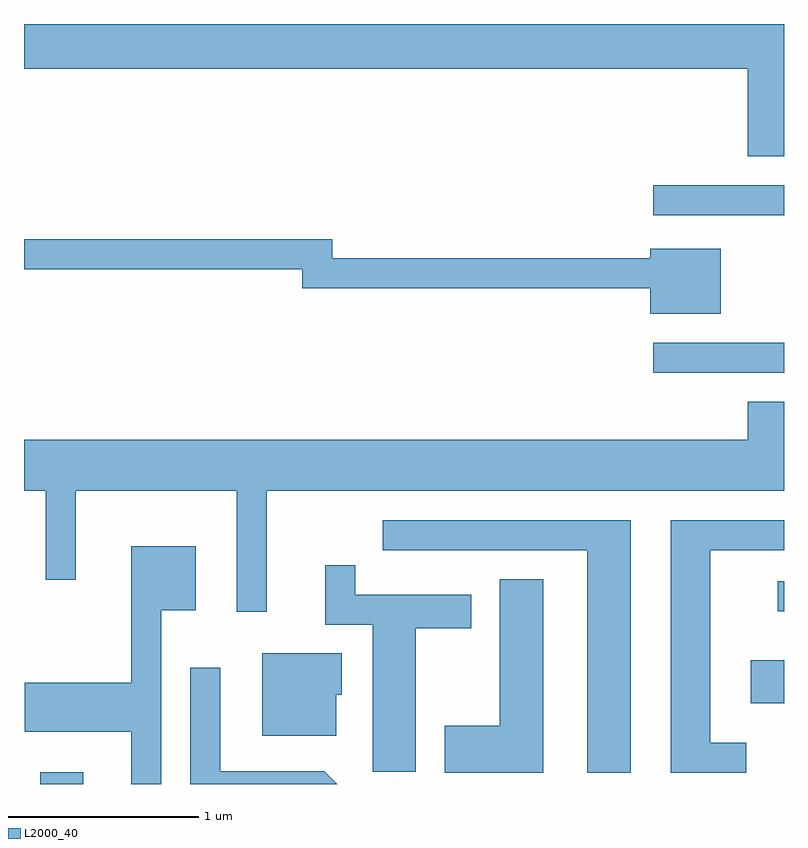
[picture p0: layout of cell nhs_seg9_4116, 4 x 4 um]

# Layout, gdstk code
import gdstk
lib = gdstk.Library(unit=1e-6, precision=1e-09)
def R(c, l, rs):  # rectangles x0, y0, x1, y1
    for r in rs: c.add(gdstk.rectangle(r[:2], r[2:], *l))
def P(c, l, *ps):  # polygons
    for p in ps: c.add(gdstk.Polygon(p, *l))
L2000_40 = (2000, 40)

nhs_seg9_4116 = lib.new_cell('nhs_seg9_4116')
R(nhs_seg9_4116, L2000_40, [(305.696,2052.432,305.924,2052.494), (309.436,2052.856,309.611,2053.084), (309.578,2053.341,309.611,2053.499), (308.923,2054.596,309.611,2054.754), (308.923,2055.426,309.611,2055.584)])
P(nhs_seg9_4116, L2000_40, [(309.611,2056.432),(305.611,2056.432),(305.611,2056.196),(309.421,2056.196),(309.421,2055.736),(309.611,2055.736)],
  [(309.279,2055.249),(308.906,2055.249),(308.906,2055.199),(307.234,2055.199),(307.234,2055.299),(305.611,2055.299),(305.611,2055.141),(307.076,2055.141),(307.076,2055.041),(308.906,2055.041),(308.906,2054.906),(309.279,2054.906)],
  [(306.889,2053.976),(309.611,2053.976),(309.611,2054.444),(309.421,2054.444),(309.421,2054.244),(305.611,2054.244),(305.611,2053.976),(305.726,2053.976),(305.726,2053.508),(305.884,2053.508),(305.884,2053.976),(306.731,2053.976),(306.731,2053.338),(306.889,2053.338)],
  [(308.804,2053.819),(307.498,2053.819),(307.498,2053.661),(308.576,2053.661),(308.576,2052.491),(308.804,2052.491)],
  [(309.413,2052.649),(309.224,2052.649),(309.224,2053.661),(309.611,2053.661),(309.611,2053.819),(309.016,2053.819),(309.016,2052.491),(309.413,2052.491)],
  [(306.334,2053.346),(306.514,2053.346),(306.514,2053.684),(306.176,2053.684),(306.176,2052.964),(305.616,2052.964),(305.616,2052.706),(306.176,2052.706),(306.176,2052.432),(306.334,2052.432)],
  [(307.674,2053.251),(307.964,2053.251),(307.964,2053.429),(307.354,2053.429),(307.354,2053.583),(307.196,2053.583),(307.196,2053.271),(307.446,2053.271),(307.446,2052.496),(307.674,2052.496)],
  [(308.344,2053.509),(308.116,2053.509),(308.116,2052.739),(307.826,2052.739),(307.826,2052.491),(308.344,2052.491)],
  [(307.254,2052.901),(307.284,2052.901),(307.284,2053.119),(306.866,2053.119),(306.866,2052.686),(307.254,2052.686)],
  [(307.192,2052.499),(306.644,2052.499),(306.644,2053.043),(306.486,2053.043),(306.486,2052.432),(307.259,2052.432)])

lib.write_gds('nhs_seg9_4116.gds')
